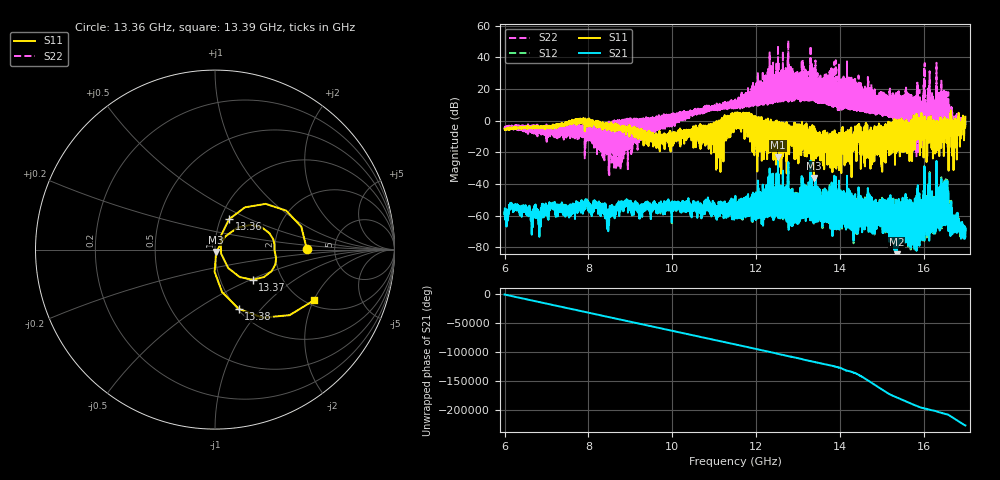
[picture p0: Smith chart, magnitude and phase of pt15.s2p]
#  HZ  S  RI  R  50.00
! Rohde & Schwarz Vector Network Analyzer
! Rohde-Schwarz,ZNA67-2Port,1332450062101215,3.01
! Created: UTC 10/15/2026, 2:13:06 PM
! freq[Hz]  re:S11  im:S11  re:S21  im:S21  re:S12  im:S12  re:S22  im:S22
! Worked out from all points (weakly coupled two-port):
!   11001 points, 6 GHz to 17 GHz, reference 50 ohm
!   highest |S21| = -23.10 dB at 12.53 GHz (marker M1); lowest = -85.6 dB at 15.37 GHz (marker M2)
!   lowest |S11| = -36.3 dB at 13.38 GHz (marker M3), VSWR 1.03, Z = 50.7 - j1.38 ohm
!   |S11| at or under -10 dB: 9.829073 GHz to 9.869843 GHz (40.77 MHz wide, 0.414 % of centre); 13.71968 GHz to 13.76969 GHz (50.01 MHz wide, 0.364 % of centre); 14.08097 GHz to 14.12766 GHz (46.69 MHz wide, 0.331 % of centre) (the widest 3 of 486)
!   |S22| runs from -34.5 to 50.7 dB; largest |S21 - S12| = 0.0093
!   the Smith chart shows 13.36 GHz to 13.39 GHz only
!   S11 on the Smith chart (normalised r, x): 13.36 GHz: 3.09, +0.03; 13.36 GHz: 1.10, +0.39; 13.37 GHz: 1.42, -0.52; 13.38 GHz: 1.01, -0.77; 13.39 GHz: 2.20, -2.02
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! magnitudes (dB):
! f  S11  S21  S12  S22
! 6 GHz  -5.3  -57.9  -57.8  -4.3
! 7.834 GHz  -0.5  -53.8  -53.7  -8.6
! 8.17 GHz  -1.2  -51.9  -52.0  -11.7
! 8.478 GHz  -3.3  -65.9  -65.4  -3.4
! 8.885 GHz  -7.1  -53.0  -52.7  -3.9
! 9.667 GHz  -10.5  -54.4  -54.9  -2.5
! 11.05 GHz  -0.4  -55.4  -55.5  8.2
! 11.5 GHz  4.7  -58.9  -58.8  9.3
! 12.53 GHz  -7.3  -23.1  -23.2  47.6
! 12.83 GHz  -6.2  -62.8  -62.7  15.9
! 13.33 GHz  -6.5  -58.8  -58.7  16.3
! 13.36 GHz  -5.8  -57.3  -57.4  17.9
! 13.36 GHz  -14.6  -46.1  -45.9  25.9
! 13.37 GHz  -11.4  -55.6  -55.7  19.3
! 13.38 GHz  -36.3  -64.7  -65.1  13.2
! 13.38 GHz  -9.0  -54.8  -54.8  20.8
! 13.39 GHz  -4.1  -63.4  -63.1  13.5
! 13.89 GHz  -8.1  -60.6  -61.0  10.8
! 15.17 GHz  -9.6  -60.3  -61.1  8.0
! 15.37 GHz  -10.1  -85.6  -85.0  -0.2
! 16.52 GHz  -2.7  -60.1  -59.5  -7.6
! 17 GHz  2.5  -68.6  -69.9  -0.6
